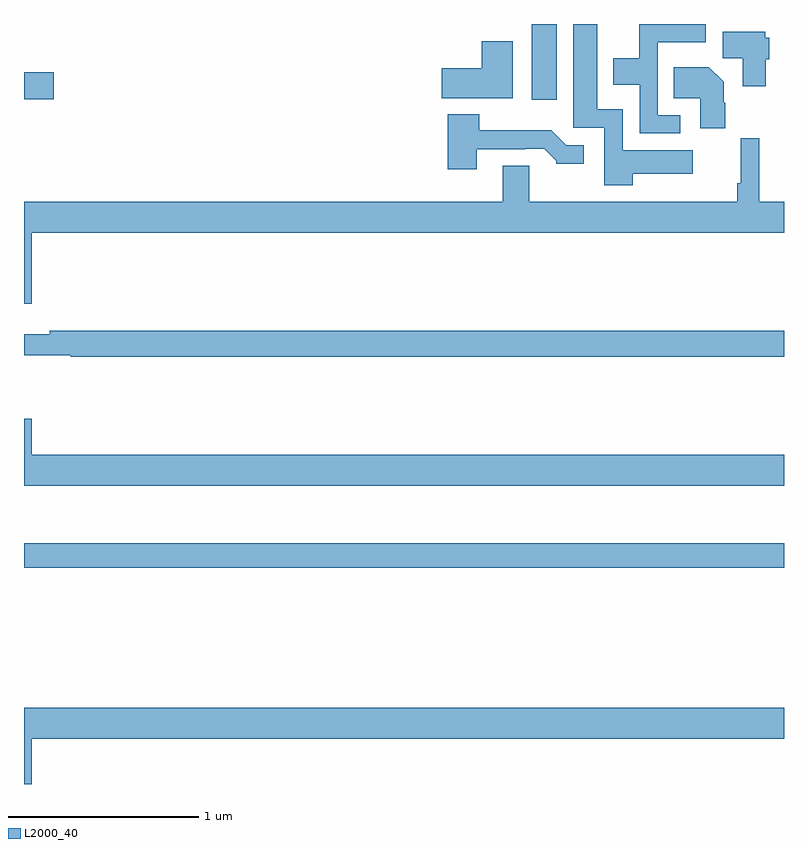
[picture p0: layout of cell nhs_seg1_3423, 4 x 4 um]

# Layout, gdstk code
import gdstk
lib = gdstk.Library(unit=1e-6, precision=1e-09)
def R(c, l, rs):  # rectangles x0, y0, x1, y1
    for r in rs: c.add(gdstk.rectangle(r[:2], r[2:], *l))
def P(c, l, *ps):  # polygons
    for p in ps: c.add(gdstk.Polygon(p, *l))
L2000_40 = (2000, 40)

nhs_seg1_3423 = lib.new_cell('nhs_seg1_3423')
R(nhs_seg1_3423, L2000_40, [(297,515.338,301,515.467), (299.672,517.8,299.803,518.199), (297,517.802,297.157,517.944)])
P(nhs_seg1_3423, L2000_40, [(300.454,517.719),(300.336,517.719),(300.336,518.102),(300.589,518.102),(300.589,518.199),(300.238,518.199),(300.238,518.02),(300.101,518.02),(300.101,517.88),(300.24,517.88),(300.24,517.623),(300.454,517.623)],
  [(300.203,517.412),(300.52,517.412),(300.52,517.534),(300.15,517.534),(300.15,517.75),(300.016,517.75),(300.016,518.199),(299.891,518.199),(299.891,517.653),(300.054,517.653),(300.054,517.35),(300.203,517.35)],
  [(300.904,518.013),(300.922,518.013),(300.922,518.127),(300.9,518.127),(300.9,518.158),(300.677,518.158),(300.677,518.02),(300.782,518.02),(300.782,517.871),(300.904,517.871)],
  [(299.572,518.107),(299.408,518.107),(299.408,517.966),(299.199,517.966),(299.199,517.808),(299.572,517.808)],
  [(300.69,517.784),(300.682,517.784),(300.682,517.894),(300.604,517.972),(300.421,517.972),(300.421,517.808),(300.56,517.808),(300.56,517.65),(300.69,517.65)],
  [(299.383,517.539),(299.639,517.539),(299.639,517.542),(299.738,517.542),(299.802,517.478),(299.802,517.463),(299.947,517.463),(299.947,517.56),(299.853,517.56),(299.775,517.639),(299.396,517.639),(299.396,517.723),(299.231,517.723),(299.231,517.434),(299.383,517.434)],
  [(297.04,517.1),(301,517.1),(301,517.264),(300.871,517.264),(300.871,517.597),(300.772,517.597),(300.772,517.36),(300.754,517.36),(300.754,517.264),(299.659,517.264),(299.659,517.454),(299.519,517.454),(299.519,517.264),(297,517.264),(297,516.726),(297.04,516.726)],
  [(301,516.584),(297.136,516.584),(297.136,516.565),(297,516.565),(297,516.456),(297.245,516.456),(297.245,516.448),(301,516.448)],
  [(301,515.932),(297.04,515.932),(297.04,516.121),(297,516.121),(297,515.768),(301,515.768)],
  [(297.04,514.436),(301,514.436),(301,514.6),(297,514.6),(297,514.199),(297.04,514.199)])

lib.write_gds('nhs_seg1_3423.gds')
